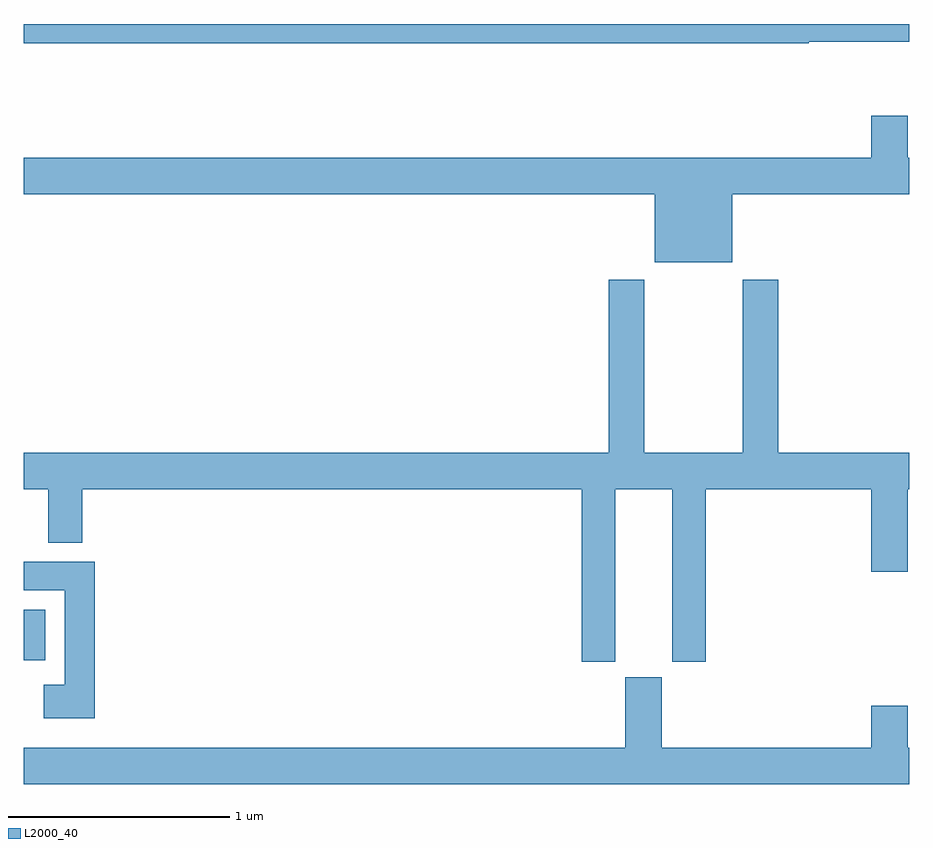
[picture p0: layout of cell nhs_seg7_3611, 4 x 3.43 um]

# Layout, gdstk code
import gdstk
lib = gdstk.Library(unit=1e-6, precision=1e-09)
def R(c, l, rs):  # rectangles x0, y0, x1, y1
    for r in rs: c.add(gdstk.rectangle(r[:2], r[2:], *l))
def P(c, l, *ps):  # polygons
    for p in ps: c.add(gdstk.Polygon(p, *l))
L2000_40 = (2000, 40)

nhs_seg7_3611 = lib.new_cell('nhs_seg7_3611')
R(nhs_seg7_3611, L2000_40, [(341,1049.126,341.098,1049.356)])
P(nhs_seg7_3611, L2000_40, [(344.545,1051.92),(345,1051.92),(345,1052),(341,1052),(341,1051.912),(344.545,1051.912)],
  [(344.2,1051.232),(345,1051.232),(345,1051.396),(344.992,1051.396),(344.992,1051.585),(344.828,1051.585),(344.828,1051.396),(341,1051.396),(341,1051.232),(343.85,1051.232),(343.85,1050.923),(344.2,1050.923)],
  [(343.672,1049.9),(343.928,1049.9),(343.928,1049.121),(344.081,1049.121),(344.081,1049.9),(344.828,1049.9),(344.828,1049.526),(344.992,1049.526),(344.992,1049.9),(345,1049.9),(345,1050.064),(344.408,1050.064),(344.408,1050.844),(344.248,1050.844),(344.248,1050.064),(343.803,1050.064),(343.803,1050.844),(343.643,1050.844),(343.643,1050.064),(341,1050.064),(341,1049.9),(341.111,1049.9),(341.111,1049.657),(341.264,1049.657),(341.264,1049.9),(343.52,1049.9),(343.52,1049.121),(343.672,1049.121)],
  [(341.321,1049.572),(341,1049.572),(341,1049.444),(341.186,1049.444),(341.186,1049.017),(341.091,1049.017),(341.091,1048.865),(341.321,1048.865)],
  [(345,1048.732),(344.992,1048.732),(344.992,1048.921),(344.828,1048.921),(344.828,1048.732),(343.882,1048.732),(343.882,1049.049),(343.718,1049.049),(343.718,1048.732),(341,1048.732),(341,1048.568),(345,1048.568)])

lib.write_gds('nhs_seg7_3611.gds')
